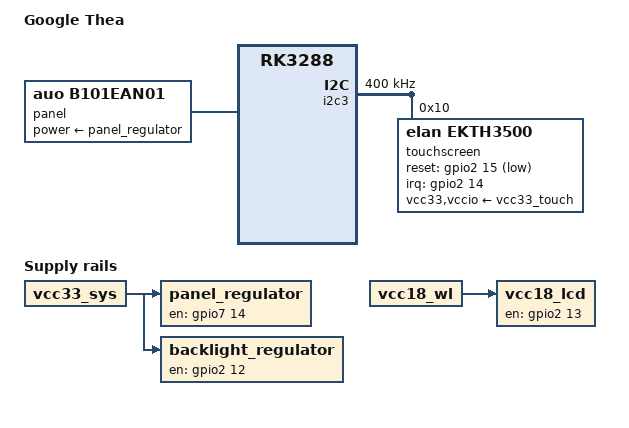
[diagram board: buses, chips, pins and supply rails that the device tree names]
/*
 * Google Veyron Thea board device tree source
 *
 * Copyright 2015 Google, Inc
 *
 * This program is free software; you can redistribute it and/or modify
 * it under the terms of the GNU General Public License version 2 as
 * published by the Free Software Foundation.
 */

/dts-v1/;
#include "rk3288-veyron-chromebook.dtsi"
#include "rk3288-veyron-ddr3.dtsi"
#include "cros-ec-sbs.dtsi"

/ {
	model = "Google Thea";
	compatible = "google,veyron-thea-rev0", "google,veyron-thea-rev1",
		     "google,veyron-thea-rev2", "google,veyron-thea-rev3",
		     "google,veyron-thea-rev4", "google,veyron-thea",
		     "google,veyron", "rockchip,rk3288";

	panel_regulator: panel-regulator {
		compatible = "regulator-fixed";
		enable-active-high;
		gpio = <&gpio7 14 GPIO_ACTIVE_HIGH>;
		pinctrl-names = "default";
		pinctrl-0 = <&lcd_enable_h>;
		regulator-name = "panel_regulator";
		vin-supply = <&vcc33_sys>;
	};

	vcc18_lcd: vcc18-lcd {
		compatible = "regulator-fixed";
		enable-active-high;
		gpio = <&gpio2 13 GPIO_ACTIVE_HIGH>;
		pinctrl-names = "default";
		pinctrl-0 = <&avdd_1v8_disp_en>;
		regulator-name = "vcc18_lcd";
		regulator-always-on;
		regulator-boot-on;
		vin-supply = <&vcc18_wl>;
	};

	backlight_regulator: backlight-regulator {
		compatible = "regulator-fixed";
		enable-active-high;
		gpio = <&gpio2 12 GPIO_ACTIVE_HIGH>;
		pinctrl-names = "default";
		pinctrl-0 = <&bl_pwr_en>;
		regulator-name = "backlight_regulator";
		vin-supply = <&vcc33_sys>;
		startup-delay-us = <15000>;
	};
};

&i2c3 {
	status = "okay";
	clock-frequency = <400000>;
	i2c-scl-falling-time-ns = <50>;
	i2c-scl-rising-time-ns = <300>;

	touchscreen@10 {
		compatible = "elan,ekth3500";
		reg = <0x10>;
		interrupt-parent = <&gpio2>;
		interrupts = <14 IRQ_TYPE_EDGE_FALLING>;
		pinctrl-names = "default";
		pinctrl-0 = <&touch_int &touch_rst>;
		reset-gpios = <&gpio2 15 GPIO_ACTIVE_LOW>;
		vcc33-supply = <&vcc33_touch>;
		vccio-supply = <&vcc33_touch>;
	};
};

&backlight {
	power-supply = <&backlight_regulator>;
};

&panel {
	compatible = "auo,b101ean01", "simple-panel";
	power-supply= <&panel_regulator>;
};

&rk808 {
	pinctrl-names = "default";
	pinctrl-0 = <&pmic_int_l &dvs_1 &dvs_2>;
	dvs-gpios = <&gpio7 12 GPIO_ACTIVE_HIGH>,
		    <&gpio7 15 GPIO_ACTIVE_HIGH>;

	regulators {
		vcc33_touch: LDO_REG2 {
			regulator-min-microvolt = <3300000>;
			regulator-max-microvolt = <3300000>;
			regulator-name = "vcc33_touch";
			regulator-suspend-mem-disabled;
		};
	};
};

&sdmmc {
	pinctrl-names = "default";
	pinctrl-0 = <&sdmmc_clk &sdmmc_cmd &sdmmc_cd_disabled &sdmmc_cd_gpio
			&sdmmc_bus4>;
	disable-wp;
};

&thermal {
	#include "rk3288-thea-thermal.dtsi"
};

&vcc_5v {
	enable-active-high;
	gpio = <&gpio7 21 GPIO_ACTIVE_HIGH>;
	pinctrl-names = "default";
	pinctrl-0 = <&drv_5v>;
};

&vcc50_hdmi {
	enable-active-high;
	gpio = <&gpio5 19 GPIO_ACTIVE_HIGH>;
	pinctrl-names = "default";
	pinctrl-0 = <&vcc50_hdmi_en>;
};

&edp {
	pinctrl-names = "default";
	pinctrl-0 = <&edp_hpd>;
};

&pinctrl {
	backlight {
		bl_pwr_en: bl_pwr_en {
			rockchip,pins = <2 12 RK_FUNC_GPIO &pcfg_pull_none>;
		};
	};

	buck-5v {
		drv_5v: drv-5v {
			rockchip,pins = <7 21 RK_FUNC_GPIO &pcfg_pull_none>;
		};
	};

	edp {
		edp_hpd: edp_hpd {
			rockchip,pins = <7 11 RK_FUNC_2 &pcfg_pull_down>;
		};
	};

	hdmi {
		vcc50_hdmi_en: vcc50-hdmi-en {
			rockchip,pins = <5 19 RK_FUNC_GPIO &pcfg_pull_none>;
		};
	};

	lcd {
		lcd_enable_h: lcd-en {
			rockchip,pins = <7 14 RK_FUNC_GPIO &pcfg_pull_none>;
		};

		avdd_1v8_disp_en: avdd-1v8-disp-en {
			rockchip,pins = <2 13 RK_FUNC_GPIO &pcfg_pull_none>;
		};
	};

	pmic {
		dvs_1: dvs-1 {
			rockchip,pins = <7 12 RK_FUNC_GPIO &pcfg_pull_down>;
		};

		dvs_2: dvs-2 {
			rockchip,pins = <7 15 RK_FUNC_GPIO &pcfg_pull_down>;
		};
	};

	touchscreen {
		touch_int: touch-int {
			rockchip,pins = <2 14 RK_FUNC_GPIO &pcfg_pull_none>;
		};

		touch_rst: touch-rst {
			rockchip,pins = <2 15 RK_FUNC_GPIO &pcfg_pull_none>;
		};
	};
};

